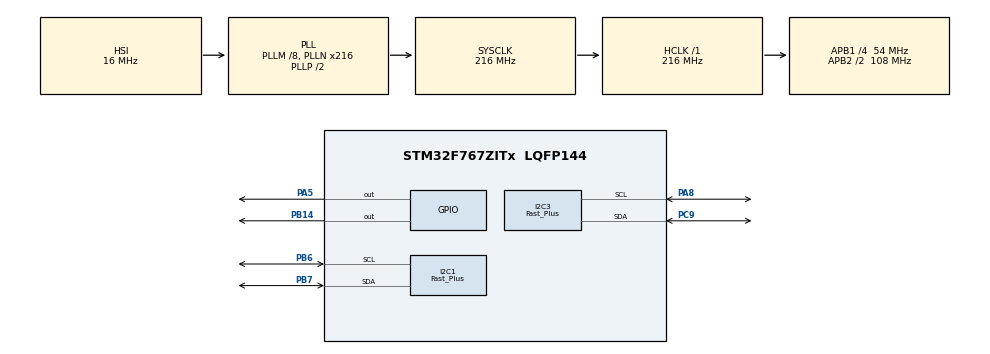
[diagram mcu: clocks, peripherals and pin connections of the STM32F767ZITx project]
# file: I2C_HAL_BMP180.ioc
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I2C1.I2C_Speed_Mode=I2C_Fast_Plus
I2C1.Timing=0x00200922
I2C3.I2C_Speed_Mode=I2C_Fast_Plus
I2C3.Timing=0x00200922
Mcu.Family=STM32F7
Mcu.Name=STM32F767ZITx
Mcu.Package=LQFP144
NVIC.PriorityGroup=NVIC_PRIORITYGROUP_4
PA13.Mode=Serial_Wire
PA13.Signal=SYS_JTMS-SWDIO
PA14.Mode=Serial_Wire
PA14.Signal=SYS_JTCK-SWCLK
PA5.GPIO_Speed=GPIO_SPEED_FREQ_VERY_HIGH
PA5.PinState=GPIO_PIN_RESET
PA5.Signal=GPIO_Output
PA8.Mode=I2C
PA8.Signal=I2C3_SCL
PB14.GPIO_Speed=GPIO_SPEED_FREQ_HIGH
PB14.Signal=GPIO_Output
PB6.Mode=I2C
PB6.Signal=I2C1_SCL
PB7.Mode=I2C
PB7.Signal=I2C1_SDA
PC14/OSC32_IN.Mode=LSE-External-Oscillator
PC14/OSC32_IN.Signal=RCC_OSC32_IN
PC15/OSC32_OUT.Mode=LSE-External-Oscillator
PC15/OSC32_OUT.Signal=RCC_OSC32_OUT
PC9.Mode=I2C
PC9.Signal=I2C3_SDA
PH0/OSC_IN.Mode=HSE-External-Oscillator
PH0/OSC_IN.Signal=RCC_OSC_IN
PH1/OSC_OUT.Mode=HSE-External-Oscillator
PH1/OSC_OUT.Signal=RCC_OSC_OUT
ProjectManager.HeapSize=0x200
ProjectManager.StackSize=0x400
ProjectManager.TargetToolchain=STM32CubeIDE
RCC.AHBFreq_Value=216000000
RCC.APB1CLKDivider=RCC_HCLK_DIV4
RCC.APB1Freq_Value=54000000
RCC.APB1TimFreq_Value=108000000
RCC.APB2CLKDivider=RCC_HCLK_DIV2
RCC.APB2Freq_Value=108000000
RCC.APB2TimFreq_Value=216000000
RCC.CortexFreq_Value=216000000
RCC.HCLKFreq_Value=216000000
RCC.HSE_VALUE=25000000
RCC.HSI_VALUE=16000000
RCC.PLLM=8
RCC.PLLN=216
RCC.SYSCLKFreq_VALUE=216000000
RCC.SYSCLKSource=RCC_SYSCLKSOURCE_PLLCLK
RCC.USBFreq_Value=216000000
RCC.VCOOutputFreq_Value=432000000
board=custom

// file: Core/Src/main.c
/* USER CODE BEGIN Header */
/**
  ******************************************************************************
  * @file           : main.c
  * @brief          : Main program body
  ******************************************************************************
  * @attention
  *
  * Copyright (c) 2024 STMicroelectronics.
  * All rights reserved.
  *
  * This software is licensed under terms that can be found in the LICENSE file
  * in the root directory of this software component.
  * If no LICENSE file comes with this software, it is provided AS-IS.
  *
  ******************************************************************************
  */
/* USER CODE END Header */
#include "main.h"

/* USER CODE BEGIN Includes */
#include"bmp180.h"
#include"fonts.h"
#include"ssd1306.h"
/* USER CODE END Includes */

I2C_HandleTypeDef hi2c1;
I2C_HandleTypeDef hi2c3;

/* USER CODE BEGIN PV */
float tempature1=0,pressure1=0;

char sıcaklık[50];
char basınc[50];
/* USER CODE END PV */

void SystemClock_Config(void);
static void MX_GPIO_Init(void);
static void MX_I2C3_Init(void);
static void MX_I2C1_Init(void);

int main(void)
{

  /* MCU Configuration--------------------------------------------------------*/

  /* Reset of all peripherals, Initializes the Flash interface and the Systick. */
  HAL_Init();

  /* Configure the system clock */
  SystemClock_Config();

  /* Initialize all configured peripherals */
  MX_GPIO_Init();
  MX_I2C3_Init();
  MX_I2C1_Init();
  /* USER CODE BEGIN 2 */
 BMP180_Init();
  SSD1306_Init();
  /* USER CODE END 2 */

  /* Infinite loop */
  while (1)
  {

    /* USER CODE BEGIN 3 */

	 tempature1= BMP180_Get_Temperature();
	 pressure1 = BMP180_Get_Pressure();

	  sprintf(sıcaklık,"%.5f",tempature1);
	  sprintf(basınc,"%.5f",pressure1);

	  SSD1306_GotoXY (0,0);
	 SSD1306_Puts ("T : ", &Font_11x18, 1);
	  SSD1306_Puts (sıcaklık, &Font_11x18, 1);
	 	 SSD1306_GotoXY (0,30);
		 SSD1306_Puts ("P : ", &Font_11x18, 1);
		  SSD1306_Puts (basınc, &Font_11x18, 1);

	 	  SSD1306_UpdateScreen();
	 	 HAL_Delay(200);

  }
  /* USER CODE END 3 */
}

void SystemClock_Config(void)
{
  RCC_OscInitTypeDef RCC_OscInitStruct = {0};
  RCC_ClkInitTypeDef RCC_ClkInitStruct = {0};

  /** Configure LSE Drive Capability
  */
  HAL_PWR_EnableBkUpAccess();

  /** Configure the main internal regulator output voltage
  */
  __HAL_RCC_PWR_CLK_ENABLE();
  __HAL_PWR_VOLTAGESCALING_CONFIG(PWR_REGULATOR_VOLTAGE_SCALE1);

  /** Initializes the RCC Oscillators according to the specified parameters
  * in the RCC_OscInitTypeDef structure.
  */
  RCC_OscInitStruct.OscillatorType = RCC_OSCILLATORTYPE_HSI;
  RCC_OscInitStruct.HSIState = RCC_HSI_ON;
  RCC_OscInitStruct.HSICalibrationValue = RCC_HSICALIBRATION_DEFAULT;
  RCC_OscInitStruct.PLL.PLLState = RCC_PLL_ON;
  RCC_OscInitStruct.PLL.PLLSource = RCC_PLLSOURCE_HSI;
  RCC_OscInitStruct.PLL.PLLM = 8;
  RCC_OscInitStruct.PLL.PLLN = 216;
  RCC_OscInitStruct.PLL.PLLP = RCC_PLLP_DIV2;
  RCC_OscInitStruct.PLL.PLLQ = 2;
  RCC_OscInitStruct.PLL.PLLR = 2;
  if (HAL_RCC_OscConfig(&RCC_OscInitStruct) != HAL_OK)
  {
    Error_Handler();
  }

  /** Activate the Over-Drive mode
  */
  if (HAL_PWREx_EnableOverDrive() != HAL_OK)
  {
    Error_Handler();
  }

  /** Initializes the CPU, AHB and APB buses clocks
  */
  RCC_ClkInitStruct.ClockType = RCC_CLOCKTYPE_HCLK|RCC_CLOCKTYPE_SYSCLK
                              |RCC_CLOCKTYPE_PCLK1|RCC_CLOCKTYPE_PCLK2;
  RCC_ClkInitStruct.SYSCLKSource = RCC_SYSCLKSOURCE_PLLCLK;
  RCC_ClkInitStruct.AHBCLKDivider = RCC_SYSCLK_DIV1;
  RCC_ClkInitStruct.APB1CLKDivider = RCC_HCLK_DIV4;
  RCC_ClkInitStruct.APB2CLKDivider = RCC_HCLK_DIV2;

  if (HAL_RCC_ClockConfig(&RCC_ClkInitStruct, FLASH_LATENCY_7) != HAL_OK)
  {
    Error_Handler();
  }
}

static void MX_I2C1_Init(void)
{

  hi2c1.Instance = I2C1;
  hi2c1.Init.Timing = 0x00200922;
  hi2c1.Init.OwnAddress1 = 0;
  hi2c1.Init.AddressingMode = I2C_ADDRESSINGMODE_7BIT;
  hi2c1.Init.DualAddressMode = I2C_DUALADDRESS_DISABLE;
  hi2c1.Init.OwnAddress2 = 0;
  hi2c1.Init.OwnAddress2Masks = I2C_OA2_NOMASK;
  hi2c1.Init.GeneralCallMode = I2C_GENERALCALL_DISABLE;
  hi2c1.Init.NoStretchMode = I2C_NOSTRETCH_DISABLE;
  if (HAL_I2C_Init(&hi2c1) != HAL_OK)
  {
    Error_Handler();
  }

  /** Configure Analogue filter
  */
  if (HAL_I2CEx_ConfigAnalogFilter(&hi2c1, I2C_ANALOGFILTER_ENABLE) != HAL_OK)
  {
    Error_Handler();
  }

  /** Configure Digital filter
  */
  if (HAL_I2CEx_ConfigDigitalFilter(&hi2c1, 0) != HAL_OK)
  {
    Error_Handler();
  }

  /** I2C Enable Fast Mode Plus
  */
  HAL_I2CEx_EnableFastModePlus(I2C_FASTMODEPLUS_I2C1);

}

static void MX_I2C3_Init(void)
{

  hi2c3.Instance = I2C3;
  hi2c3.Init.Timing = 0x00200922;
  hi2c3.Init.OwnAddress1 = 0;
  hi2c3.Init.AddressingMode = I2C_ADDRESSINGMODE_7BIT;
  hi2c3.Init.DualAddressMode = I2C_DUALADDRESS_DISABLE;
  hi2c3.Init.OwnAddress2 = 0;
  hi2c3.Init.OwnAddress2Masks = I2C_OA2_NOMASK;
  hi2c3.Init.GeneralCallMode = I2C_GENERALCALL_DISABLE;
  hi2c3.Init.NoStretchMode = I2C_NOSTRETCH_DISABLE;
  if (HAL_I2C_Init(&hi2c3) != HAL_OK)
  {
    Error_Handler();
  }

  /** Configure Analogue filter
  */
  if (HAL_I2CEx_ConfigAnalogFilter(&hi2c3, I2C_ANALOGFILTER_ENABLE) != HAL_OK)
  {
    Error_Handler();
  }

  /** Configure Digital filter
  */
  if (HAL_I2CEx_ConfigDigitalFilter(&hi2c3, 0) != HAL_OK)
  {
    Error_Handler();
  }

  /** I2C Enable Fast Mode Plus
  */
  HAL_I2CEx_EnableFastModePlus(I2C_FASTMODEPLUS_I2C3);

}

static void MX_GPIO_Init(void)
{
  GPIO_InitTypeDef GPIO_InitStruct = {0};

  /* GPIO Ports Clock Enable */
  __HAL_RCC_GPIOC_CLK_ENABLE();
  __HAL_RCC_GPIOH_CLK_ENABLE();
  __HAL_RCC_GPIOA_CLK_ENABLE();
  __HAL_RCC_GPIOB_CLK_ENABLE();

  /*Configure GPIO pin Output Level */
  HAL_GPIO_WritePin(GPIOA, GPIO_PIN_5, GPIO_PIN_RESET);

  /*Configure GPIO pin Output Level */
  HAL_GPIO_WritePin(GPIOB, GPIO_PIN_14, GPIO_PIN_RESET);

  /*Configure GPIO pin : PA5 */
  GPIO_InitStruct.Pin = GPIO_PIN_5;
  GPIO_InitStruct.Mode = GPIO_MODE_OUTPUT_PP;
  GPIO_InitStruct.Pull = GPIO_NOPULL;
  GPIO_InitStruct.Speed = GPIO_SPEED_FREQ_VERY_HIGH;
  HAL_GPIO_Init(GPIOA, &GPIO_InitStruct);

  /*Configure GPIO pin : PB14 */
  GPIO_InitStruct.Pin = GPIO_PIN_14;
  GPIO_InitStruct.Mode = GPIO_MODE_OUTPUT_PP;
  GPIO_InitStruct.Pull = GPIO_NOPULL;
  GPIO_InitStruct.Speed = GPIO_SPEED_FREQ_HIGH;
  HAL_GPIO_Init(GPIOB, &GPIO_InitStruct);

}

void Error_Handler(void)
{
  __disable_irq();
  while (1)
  {
  }
}
